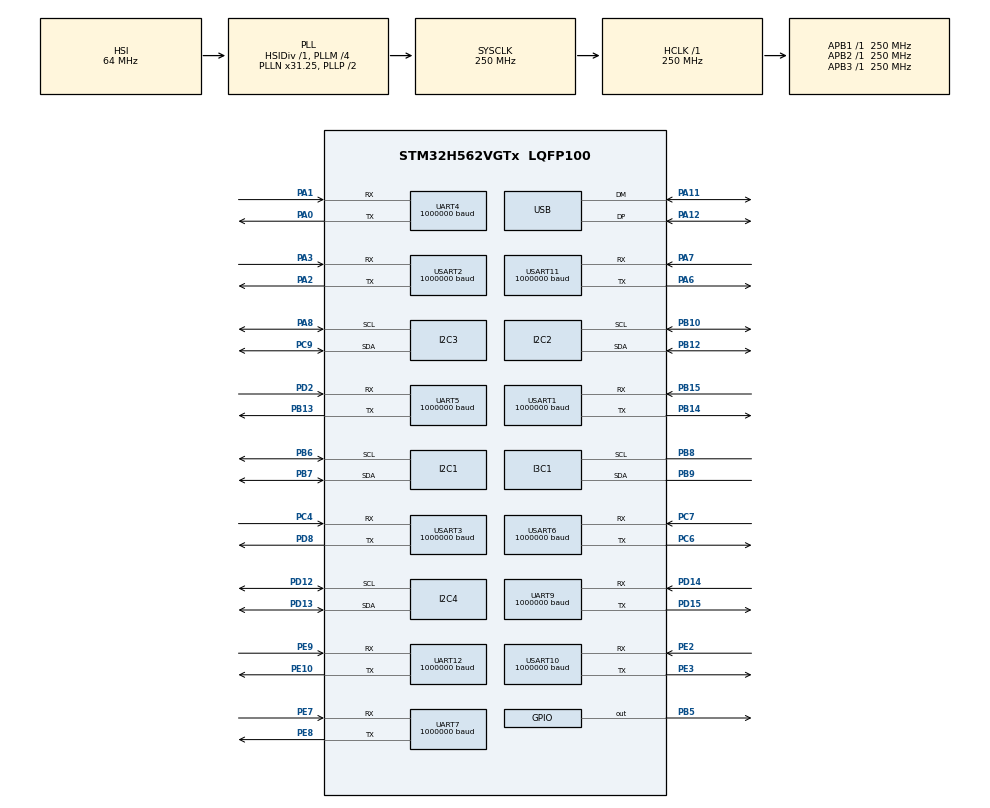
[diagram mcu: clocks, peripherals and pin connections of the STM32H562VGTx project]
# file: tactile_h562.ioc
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BOOTPATH.BootPathName=LEGACY
BOOTPATH.UserSelectedBootPath=LEGACY
CORTEX_M33_NS.Number-Cortex_Memory_Protection_Unit_Region0_OTP_RO_AREAS_Settings=MPU_REGION_NUMBER0
CORTEX_M33_NS.default_mode_Activation=1
CORTEX_M33_NS.userName=CORTEX_M33
I2C1.Timing=0x60808CD3
I2C2.Timing=0x60808CD3
I2C3.Timing=0x60808CD3
I2C4.Timing=0x60808CD3
I3C1.BusFreeDuration=402
I3C1.Register0=0x00774f77
I3C1.Register1=0x003100f8
I3C1.SCLI3CHighDuration=0x4f
I3C1.SCLODLowDuration=0x77
I3C1.SCLPPLowDuration=0x77
I3C1.SCL_OD_Freq=1250
I3C1.SCL_PP_Freq=1250
I3C1.hexBusFreeDuration=0x31
I3C1.hexBusIdleDuration=0xf8
Mcu.Family=STM32H5
Mcu.Name=STM32H562VGTx
Mcu.Package=LQFP100
NVIC.PriorityGroup=NVIC_PRIORITYGROUP_4
NVIC.USB_DRD_FS_IRQn=true\:0\:0\:false\:false\:true\:true\:true\:true
PA0.Mode=Asynchronous
PA0.Signal=UART4_TX
PA1.Mode=Asynchronous
PA1.Signal=UART4_RX
PA11.Mode=Device
PA11.Signal=USB_DM
PA12.Mode=Device
PA12.Signal=USB_DP
PA13(JTMS/SWDIO).Mode=Serial_Wire
PA13(JTMS/SWDIO).Signal=DEBUG_JTMS-SWDIO
PA14(JTCK/SWCLK).Mode=Serial_Wire
PA14(JTCK/SWCLK).Signal=DEBUG_JTCK-SWCLK
PA2.Mode=Asynchronous
PA2.Signal=USART2_TX
PA3.Mode=Asynchronous
PA3.Signal=USART2_RX
PA6.Mode=Asynchronous
PA6.Signal=USART11_TX
PA7.Mode=Asynchronous
PA7.Signal=USART11_RX
PA8.Mode=I2C
PA8.Signal=I2C3_SCL
PB10.Mode=I2C
PB10.Signal=I2C2_SCL
PB12.Mode=I2C
PB12.Signal=I2C2_SDA
PB13.Mode=Asynchronous
PB13.Signal=UART5_TX
PB14.Mode=Asynchronous
PB14.Signal=USART1_TX
PB15.Mode=Asynchronous
PB15.Signal=USART1_RX
PB5.Signal=GPIO_Output
PB6.Mode=I2C
PB6.Signal=I2C1_SCL
PB7.Mode=I2C
PB7.Signal=I2C1_SDA
PB8.Mode=Controller
PB8.Signal=I3C1_SCL
PB9.Mode=Controller
PB9.Signal=I3C1_SDA
PC4.Mode=Asynchronous
PC4.Signal=USART3_RX
PC6.Mode=Asynchronous
PC6.Signal=USART6_TX
PC7.Mode=Asynchronous
PC7.Signal=USART6_RX
PC9.Mode=I2C
PC9.Signal=I2C3_SDA
PD12.Mode=I2C
PD12.Signal=I2C4_SCL
PD13.Mode=I2C
PD13.Signal=I2C4_SDA
PD14.Mode=Asynchronous
PD14.Signal=UART9_RX
PD15.Mode=Asynchronous
PD15.Signal=UART9_TX
PD2.Mode=Asynchronous
PD2.Signal=UART5_RX
PD8.Mode=Asynchronous
PD8.Signal=USART3_TX
PE10.Mode=Asynchronous
PE10.Signal=UART12_TX
PE2.Mode=Asynchronous
PE2.Signal=USART10_RX
PE3.Mode=Asynchronous
PE3.Signal=USART10_TX
PE7.Mode=Asynchronous
PE7.Signal=UART7_RX
PE8.Mode=Asynchronous
PE8.Signal=UART7_TX
PE9.Mode=Asynchronous
PE9.Signal=UART12_RX
ProjectManager.HeapSize=0x200
ProjectManager.StackSize=0x400
ProjectManager.TargetToolchain=CMake
RCC.ADCFreq_Value=250000000
RCC.AHBFreq_Value=250000000
RCC.APB1Freq_Value=250000000
RCC.APB1TimFreq_Value=250000000
RCC.APB2Freq_Value=250000000
RCC.APB2TimFreq_Value=250000000
RCC.APB3Freq_Value=250000000
RCC.CSI_VALUE=4000000
RCC.CortexFreq_Value=250000000
RCC.EPOD_VALUE=64000000
RCC.HCLKFreq_Value=250000000
RCC.HSE_VALUE=25000000
RCC.HSI48_VALUE=48000000
RCC.HSIDiv=RCC_HSI_DIV1
RCC.HSI_VALUE=64000000
RCC.LSE_VALUE=32768
RCC.LSIRC_VALUE=32000
RCC.PLL2FRACN=0
RCC.PLL3FRACN=0
RCC.PLLFRACN=2048
RCC.PLLM=4
RCC.PLLN=31
RCC.PLLSourceVirtual=RCC_PLL1_SOURCE_HSI
RCC.SYSCLKFreq_VALUE=250000000
RCC.SYSCLKSource=RCC_SYSCLKSOURCE_PLLCLK
RCC.USBFreq_Value=48000000
RCC.VCOOutputFreq_Value=500000000
UART12.BaudRate=1000000
UART4.BaudRate=1000000
UART5.BaudRate=1000000
UART7.BaudRate=1000000
UART9.BaudRate=1000000
USART1.BaudRate=1000000
USART1.VirtualMode-Asynchronous=VM_ASYNC
USART10.BaudRate=1000000
USART10.VirtualMode=VM_ASYNC
USART11.BaudRate=1000000
USART11.VirtualMode-Asynchronous=VM_ASYNC
USART2.BaudRate=1000000
USART2.VirtualMode-Asynchronous=VM_ASYNC
USART3.BaudRate=1000000
USART3.VirtualMode-Asynchronous=VM_ASYNC
USART6.BaudRate=1000000
USART6.VirtualMode=VM_ASYNC
USB.VirtualMode=Device_Only
USBX.Core_System=1
USBX.USBD_CDCACM_EPIN_ADDR=2
USBX.USBD_CDCACM_EPOUT_ADDR=3
USBX.UX_DEVICE_CDC_ACM=1
USBX.UX_DEVICE_ENABLED_FS=1
USBX.UX_Device_CoreStack=1
USBX.UX_enabled_FS=1
VP_BOOTPATH_VS_BOOTPATH.Mode=BP_Activate
VP_CORTEX_M33_NS_VS_Hclk.Mode=Hclk_Mode
VP_ICACHE_VS_ICACHE.Mode=DirectMappedCache
VP_MEMORYMAP_VS_MEMORYMAP.Mode=CurAppReg
VP_PWR_VS_LPOM.Mode=PowerOptimisation
VP_PWR_VS_SECSignals.Mode=Security/Privilege
VP_USBX_Core_System.Mode=Core_System
VP_USBX_UX\ Device\ CDC\ ACM\ Class_FS.Mode=UX_Device_class_CDC_ACM_FS_HS
VP_USBX_UX\ Device\ CoreStack_FS.Mode=UX_Device_CoreStack
board=custom

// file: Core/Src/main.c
/* USER CODE BEGIN Header */
/**
  ******************************************************************************
  * @file           : main.c
  * @brief          : Main program body
  ******************************************************************************
  * @attention
  *
  * Copyright (c) 2026 STMicroelectronics.
  * All rights reserved.
  *
  * This software is licensed under terms that can be found in the LICENSE file
  * in the root directory of this software component.
  * If no LICENSE file comes with this software, it is provided AS-IS.
  *
  ******************************************************************************
  */
/* USER CODE END Header */
#include "main.h"
#include "app_usbx.h"

/* USER CODE BEGIN Includes */
#include "tactile_stream.h"

/* USER CODE END Includes */

I2C_HandleTypeDef hi2c1;
I2C_HandleTypeDef hi2c2;
I2C_HandleTypeDef hi2c3;
I2C_HandleTypeDef hi2c4;

I3C_HandleTypeDef hi3c1;

UART_HandleTypeDef huart4;
UART_HandleTypeDef huart5;
UART_HandleTypeDef huart7;
UART_HandleTypeDef huart9;
UART_HandleTypeDef huart12;
UART_HandleTypeDef huart1;
UART_HandleTypeDef huart2;
UART_HandleTypeDef huart3;
UART_HandleTypeDef huart6;
UART_HandleTypeDef huart10;
UART_HandleTypeDef huart11;

PCD_HandleTypeDef hpcd_USB_DRD_FS;

/* USER CODE BEGIN PV */
static uint32_t g_last_led_toggle_ms = 0U;

/* USER CODE END PV */

void SystemClock_Config(void);
static void MPU_Config(void);
static void MX_GPIO_Init(void);
static void MX_ICACHE_Init(void);
static void MX_I2C1_Init(void);
static void MX_I2C2_Init(void);
static void MX_I2C3_Init(void);
static void MX_I2C4_Init(void);
static void MX_I3C1_Init(void);
static void MX_UART4_Init(void);
static void MX_UART5_Init(void);
static void MX_UART7_Init(void);
static void MX_UART9_Init(void);
static void MX_UART12_Init(void);
static void MX_USART1_UART_Init(void);
static void MX_USART2_UART_Init(void);
static void MX_USART3_UART_Init(void);
static void MX_USART6_UART_Init(void);
static void MX_USART10_UART_Init(void);
static void MX_USART11_UART_Init(void);
static void MX_USB_PCD_Init(void);
/* USER CODE BEGIN PFP */
static void StatusLed_Set(uint8_t on);
static void TactileUart_RestoreBaudRate(void);

/* USER CODE END PFP */

/* USER CODE BEGIN 0 */
static void StatusLed_Set(uint8_t on)
{
  HAL_GPIO_WritePin(LED_GPIO_Port, LED_Pin, on ? GPIO_PIN_RESET : GPIO_PIN_SET);
}

static void TactileUart_RestoreBaudRate(void)
{
  UART_HandleTypeDef *const tactile_uarts[] = {
    &huart1, &huart2, &huart3, &huart4, &huart5, &huart6,
    &huart7, &huart9, &huart10, &huart11, &huart12
  };
  uint32_t i;

  /* CubeMX may regenerate every port at 115200 baud. Sensors use 1 Mbps. */
  for (i = 0U; i < (sizeof(tactile_uarts) / sizeof(tactile_uarts[0])); ++i)
  {
    tactile_uarts[i]->Init.BaudRate = 1000000U;
    if (HAL_UART_Init(tactile_uarts[i]) != HAL_OK)
    {
      Error_Handler();
    }
  }
}

/* USER CODE END 0 */

int main(void)
{

  /* MCU Configuration--------------------------------------------------------*/

  /* MPU Configuration--------------------------------------------------------*/
  MPU_Config();

  /* Reset of all peripherals, Initializes the Flash interface and the Systick. */
  HAL_Init();

  /* Configure the system clock */
  SystemClock_Config();

  /* Initialize all configured peripherals */
  MX_GPIO_Init();
  MX_ICACHE_Init();
  MX_I2C1_Init();
  MX_I2C2_Init();
  MX_I2C3_Init();
  MX_I2C4_Init();
  MX_I3C1_Init();
  MX_UART4_Init();
  MX_UART5_Init();
  MX_UART7_Init();
  MX_UART9_Init();
  MX_UART12_Init();
  MX_USART1_UART_Init();
  MX_USART2_UART_Init();
  MX_USART3_UART_Init();
  MX_USART6_UART_Init();
  MX_USART10_UART_Init();
  MX_USART11_UART_Init();
  MX_USB_PCD_Init();
  MX_USBX_Init();
  /* USER CODE BEGIN 2 */
  TactileUart_RestoreBaudRate();
  TactileStream_Start();
  StatusLed_Set(0);
  g_last_led_toggle_ms = HAL_GetTick();

  /* USER CODE END 2 */

  /* Infinite loop */
  while (1)
  {

    /* USER CODE BEGIN 3 */
    uint32_t now = HAL_GetTick();
    ux_system_tasks_run();
    USBD_CDC_ACM_Run();
    TactileStream_Run();
    USBD_CDC_ACM_Run();

    if ((now - g_last_led_toggle_ms) >= 1000U)
    {
      HAL_GPIO_TogglePin(LED_GPIO_Port, LED_Pin);
      g_last_led_toggle_ms = now;
    }
  }
  /* USER CODE END 3 */
}

void SystemClock_Config(void)
{
  RCC_OscInitTypeDef RCC_OscInitStruct = {0};
  RCC_ClkInitTypeDef RCC_ClkInitStruct = {0};

  /** Configure the main internal regulator output voltage
  */
  __HAL_PWR_VOLTAGESCALING_CONFIG(PWR_REGULATOR_VOLTAGE_SCALE0);

  while(!__HAL_PWR_GET_FLAG(PWR_FLAG_VOSRDY)) {}

  /** Initializes the RCC Oscillators according to the specified parameters
  * in the RCC_OscInitTypeDef structure.
  */
  RCC_OscInitStruct.OscillatorType = RCC_OSCILLATORTYPE_HSI48|RCC_OSCILLATORTYPE_HSI;
  RCC_OscInitStruct.HSIState = RCC_HSI_ON;
  RCC_OscInitStruct.HSIDiv = RCC_HSI_DIV1;
  RCC_OscInitStruct.HSICalibrationValue = RCC_HSICALIBRATION_DEFAULT;
  RCC_OscInitStruct.HSI48State = RCC_HSI48_ON;
  RCC_OscInitStruct.PLL.PLLState = RCC_PLL_ON;
  RCC_OscInitStruct.PLL.PLLSource = RCC_PLL1_SOURCE_HSI;
  RCC_OscInitStruct.PLL.PLLM = 4;
  RCC_OscInitStruct.PLL.PLLN = 31;
  RCC_OscInitStruct.PLL.PLLP = 2;
  RCC_OscInitStruct.PLL.PLLQ = 2;
  RCC_OscInitStruct.PLL.PLLR = 2;
  RCC_OscInitStruct.PLL.PLLRGE = RCC_PLL1_VCIRANGE_3;
  RCC_OscInitStruct.PLL.PLLVCOSEL = RCC_PLL1_VCORANGE_WIDE;
  RCC_OscInitStruct.PLL.PLLFRACN = 2048;
  if (HAL_RCC_OscConfig(&RCC_OscInitStruct) != HAL_OK)
  {
    Error_Handler();
  }

  /** Initializes the CPU, AHB and APB buses clocks
  */
  RCC_ClkInitStruct.ClockType = RCC_CLOCKTYPE_HCLK|RCC_CLOCKTYPE_SYSCLK
                              |RCC_CLOCKTYPE_PCLK1|RCC_CLOCKTYPE_PCLK2
                              |RCC_CLOCKTYPE_PCLK3;
  RCC_ClkInitStruct.SYSCLKSource = RCC_SYSCLKSOURCE_PLLCLK;
  RCC_ClkInitStruct.AHBCLKDivider = RCC_SYSCLK_DIV1;
  RCC_ClkInitStruct.APB1CLKDivider = RCC_HCLK_DIV1;
  RCC_ClkInitStruct.APB2CLKDivider = RCC_HCLK_DIV1;
  RCC_ClkInitStruct.APB3CLKDivider = RCC_HCLK_DIV1;

  if (HAL_RCC_ClockConfig(&RCC_ClkInitStruct, FLASH_LATENCY_5) != HAL_OK)
  {
    Error_Handler();
  }

  /** Configure the programming delay
  */
  __HAL_FLASH_SET_PROGRAM_DELAY(FLASH_PROGRAMMING_DELAY_2);
}

static void MX_I2C1_Init(void)
{

  hi2c1.Instance = I2C1;
  hi2c1.Init.Timing = 0x60808CD3;
  hi2c1.Init.OwnAddress1 = 0;
  hi2c1.Init.AddressingMode = I2C_ADDRESSINGMODE_7BIT;
  hi2c1.Init.DualAddressMode = I2C_DUALADDRESS_DISABLE;
  hi2c1.Init.OwnAddress2 = 0;
  hi2c1.Init.OwnAddress2Masks = I2C_OA2_NOMASK;
  hi2c1.Init.GeneralCallMode = I2C_GENERALCALL_DISABLE;
  hi2c1.Init.NoStretchMode = I2C_NOSTRETCH_DISABLE;
  if (HAL_I2C_Init(&hi2c1) != HAL_OK)
  {
    Error_Handler();
  }

  /** Configure Analogue filter
  */
  if (HAL_I2CEx_ConfigAnalogFilter(&hi2c1, I2C_ANALOGFILTER_ENABLE) != HAL_OK)
  {
    Error_Handler();
  }

  /** Configure Digital filter
  */
  if (HAL_I2CEx_ConfigDigitalFilter(&hi2c1, 0) != HAL_OK)
  {
    Error_Handler();
  }

}

static void MX_I2C2_Init(void)
{

  hi2c2.Instance = I2C2;
  hi2c2.Init.Timing = 0x60808CD3;
  hi2c2.Init.OwnAddress1 = 0;
  hi2c2.Init.AddressingMode = I2C_ADDRESSINGMODE_7BIT;
  hi2c2.Init.DualAddressMode = I2C_DUALADDRESS_DISABLE;
  hi2c2.Init.OwnAddress2 = 0;
  hi2c2.Init.OwnAddress2Masks = I2C_OA2_NOMASK;
  hi2c2.Init.GeneralCallMode = I2C_GENERALCALL_DISABLE;
  hi2c2.Init.NoStretchMode = I2C_NOSTRETCH_DISABLE;
  if (HAL_I2C_Init(&hi2c2) != HAL_OK)
  {
    Error_Handler();
  }

  /** Configure Analogue filter
  */
  if (HAL_I2CEx_ConfigAnalogFilter(&hi2c2, I2C_ANALOGFILTER_ENABLE) != HAL_OK)
  {
    Error_Handler();
  }

  /** Configure Digital filter
  */
  if (HAL_I2CEx_ConfigDigitalFilter(&hi2c2, 0) != HAL_OK)
  {
    Error_Handler();
  }

}

static void MX_I2C3_Init(void)
{

  hi2c3.Instance = I2C3;
  hi2c3.Init.Timing = 0x60808CD3;
  hi2c3.Init.OwnAddress1 = 0;
  hi2c3.Init.AddressingMode = I2C_ADDRESSINGMODE_7BIT;
  hi2c3.Init.DualAddressMode = I2C_DUALADDRESS_DISABLE;
  hi2c3.Init.OwnAddress2 = 0;
  hi2c3.Init.OwnAddress2Masks = I2C_OA2_NOMASK;
  hi2c3.Init.GeneralCallMode = I2C_GENERALCALL_DISABLE;
  hi2c3.Init.NoStretchMode = I2C_NOSTRETCH_DISABLE;
  if (HAL_I2C_Init(&hi2c3) != HAL_OK)
  {
    Error_Handler();
  }

  /** Configure Analogue filter
  */
  if (HAL_I2CEx_ConfigAnalogFilter(&hi2c3, I2C_ANALOGFILTER_ENABLE) != HAL_OK)
  {
    Error_Handler();
  }

  /** Configure Digital filter
  */
  if (HAL_I2CEx_ConfigDigitalFilter(&hi2c3, 0) != HAL_OK)
  {
    Error_Handler();
  }

}

static void MX_I2C4_Init(void)
{

  hi2c4.Instance = I2C4;
  hi2c4.Init.Timing = 0x60808CD3;
  hi2c4.Init.OwnAddress1 = 0;
  hi2c4.Init.AddressingMode = I2C_ADDRESSINGMODE_7BIT;
  hi2c4.Init.DualAddressMode = I2C_DUALADDRESS_DISABLE;
  hi2c4.Init.OwnAddress2 = 0;
  hi2c4.Init.OwnAddress2Masks = I2C_OA2_NOMASK;
  hi2c4.Init.GeneralCallMode = I2C_GENERALCALL_DISABLE;
  hi2c4.Init.NoStretchMode = I2C_NOSTRETCH_DISABLE;
  if (HAL_I2C_Init(&hi2c4) != HAL_OK)
  {
    Error_Handler();
  }

  /** Configure Analogue filter
  */
  if (HAL_I2CEx_ConfigAnalogFilter(&hi2c4, I2C_ANALOGFILTER_ENABLE) != HAL_OK)
  {
    Error_Handler();
  }

  /** Configure Digital filter
  */
  if (HAL_I2CEx_ConfigDigitalFilter(&hi2c4, 0) != HAL_OK)
  {
    Error_Handler();
  }

}

static void MX_I3C1_Init(void)
{

  I3C_FifoConfTypeDef sFifoConfig = {0};
  I3C_CtrlConfTypeDef sCtrlConfig = {0};

  hi3c1.Instance = I3C1;
  hi3c1.Mode = HAL_I3C_MODE_CONTROLLER;
  hi3c1.Init.CtrlBusCharacteristic.SDAHoldTime = HAL_I3C_SDA_HOLD_TIME_0_5;
  hi3c1.Init.CtrlBusCharacteristic.WaitTime = HAL_I3C_OWN_ACTIVITY_STATE_0;
  hi3c1.Init.CtrlBusCharacteristic.SCLPPLowDuration = 0x77;
  hi3c1.Init.CtrlBusCharacteristic.SCLI3CHighDuration = 0x4f;
  hi3c1.Init.CtrlBusCharacteristic.SCLODLowDuration = 0x77;
  hi3c1.Init.CtrlBusCharacteristic.SCLI2CHighDuration = 0x00;
  hi3c1.Init.CtrlBusCharacteristic.BusFreeDuration = 0x31;
  hi3c1.Init.CtrlBusCharacteristic.BusIdleDuration = 0xf8;
  if (HAL_I3C_Init(&hi3c1) != HAL_OK)
  {
    Error_Handler();
  }

  /** Configure FIFO
  */
  sFifoConfig.RxFifoThreshold = HAL_I3C_RXFIFO_THRESHOLD_1_4;
  sFifoConfig.TxFifoThreshold = HAL_I3C_TXFIFO_THRESHOLD_1_4;
  sFifoConfig.ControlFifo = HAL_I3C_CONTROLFIFO_DISABLE;
  sFifoConfig.StatusFifo = HAL_I3C_STATUSFIFO_DISABLE;
  if (HAL_I3C_SetConfigFifo(&hi3c1, &sFifoConfig) != HAL_OK)
  {
    Error_Handler();
  }

  /** Configure controller
  */
  sCtrlConfig.DynamicAddr = 0;
  sCtrlConfig.StallTime = 0x00;
  sCtrlConfig.HotJoinAllowed = DISABLE;
  sCtrlConfig.ACKStallState = DISABLE;
  sCtrlConfig.CCCStallState = DISABLE;
  sCtrlConfig.TxStallState = DISABLE;
  sCtrlConfig.RxStallState = DISABLE;
  sCtrlConfig.HighKeeperSDA = DISABLE;
  if (HAL_I3C_Ctrl_Config(&hi3c1, &sCtrlConfig) != HAL_OK)
  {
    Error_Handler();
  }

}

static void MX_ICACHE_Init(void)
{

  /** Enable instruction cache in 1-way (direct mapped cache)
  */
  if (HAL_ICACHE_ConfigAssociativityMode(ICACHE_1WAY) != HAL_OK)
  {
    Error_Handler();
  }
  if (HAL_ICACHE_Enable() != HAL_OK)
  {
    Error_Handler();
  }

}

static void MX_UART4_Init(void)
{

  huart4.Instance = UART4;
  huart4.Init.BaudRate = 115200;
  huart4.Init.WordLength = UART_WORDLENGTH_8B;
  huart4.Init.StopBits = UART_STOPBITS_1;
  huart4.Init.Parity = UART_PARITY_NONE;
  huart4.Init.Mode = UART_MODE_TX_RX;
  huart4.Init.HwFlowCtl = UART_HWCONTROL_NONE;
  huart4.Init.OverSampling = UART_OVERSAMPLING_16;
  huart4.Init.OneBitSampling = UART_ONE_BIT_SAMPLE_DISABLE;
  huart4.Init.ClockPrescaler = UART_PRESCALER_DIV1;
  huart4.AdvancedInit.AdvFeatureInit = UART_ADVFEATURE_NO_INIT;
  if (HAL_UART_Init(&huart4) != HAL_OK)
  {
    Error_Handler();
  }
  if (HAL_UARTEx_SetTxFifoThreshold(&huart4, UART_TXFIFO_THRESHOLD_1_8) != HAL_OK)
  {
    Error_Handler();
  }
  if (HAL_UARTEx_SetRxFifoThreshold(&huart4, UART_RXFIFO_THRESHOLD_1_8) != HAL_OK)
  {
    Error_Handler();
  }
  if (HAL_UARTEx_DisableFifoMode(&huart4) != HAL_OK)
  {
    Error_Handler();
  }

}

static void MX_UART5_Init(void)
{

  huart5.Instance = UART5;
  huart5.Init.BaudRate = 115200;
  huart5.Init.WordLength = UART_WORDLENGTH_8B;
  huart5.Init.StopBits = UART_STOPBITS_1;
  huart5.Init.Parity = UART_PARITY_NONE;
  huart5.Init.Mode = UART_MODE_TX_RX;
  huart5.Init.HwFlowCtl = UART_HWCONTROL_NONE;
  huart5.Init.OverSampling = UART_OVERSAMPLING_16;
  huart5.Init.OneBitSampling = UART_ONE_BIT_SAMPLE_DISABLE;
  huart5.Init.ClockPrescaler = UART_PRESCALER_DIV1;
  huart5.AdvancedInit.AdvFeatureInit = UART_ADVFEATURE_NO_INIT;
  if (HAL_UART_Init(&huart5) != HAL_OK)
  {
    Error_Handler();
  }
  if (HAL_UARTEx_SetTxFifoThreshold(&huart5, UART_TXFIFO_THRESHOLD_1_8) != HAL_OK)
  {
    Error_Handler();
  }
  if (HAL_UARTEx_SetRxFifoThreshold(&huart5, UART_RXFIFO_THRESHOLD_1_8) != HAL_OK)
  {
    Error_Handler();
  }
  if (HAL_UARTEx_DisableFifoMode(&huart5) != HAL_OK)
  {
    Error_Handler();
  }

}

static void MX_UART7_Init(void)
{

  huart7.Instance = UART7;
  huart7.Init.BaudRate = 115200;
  huart7.Init.WordLength = UART_WORDLENGTH_8B;
  huart7.Init.StopBits = UART_STOPBITS_1;
  huart7.Init.Parity = UART_PARITY_NONE;
  huart7.Init.Mode = UART_MODE_TX_RX;
  huart7.Init.HwFlowCtl = UART_HWCONTROL_NONE;
  huart7.Init.OverSampling = UART_OVERSAMPLING_16;
  huart7.Init.OneBitSampling = UART_ONE_BIT_SAMPLE_DISABLE;
  huart7.Init.ClockPrescaler = UART_PRESCALER_DIV1;
  huart7.AdvancedInit.AdvFeatureInit = UART_ADVFEATURE_NO_INIT;
  if (HAL_UART_Init(&huart7) != HAL_OK)
  {
    Error_Handler();
  }
  if (HAL_UARTEx_SetTxFifoThreshold(&huart7, UART_TXFIFO_THRESHOLD_1_8) != HAL_OK)
  {
    Error_Handler();
  }
  if (HAL_UARTEx_SetRxFifoThreshold(&huart7, UART_RXFIFO_THRESHOLD_1_8) != HAL_OK)
  {
    Error_Handler();
  }
  if (HAL_UARTEx_DisableFifoMode(&huart7) != HAL_OK)
  {
    Error_Handler();
  }

}

static void MX_UART9_Init(void)
{

  huart9.Instance = UART9;
  huart9.Init.BaudRate = 115200;
  huart9.Init.WordLength = UART_WORDLENGTH_8B;
  huart9.Init.StopBits = UART_STOPBITS_1;
  huart9.Init.Parity = UART_PARITY_NONE;
  huart9.Init.Mode = UART_MODE_TX_RX;
  huart9.Init.HwFlowCtl = UART_HWCONTROL_NONE;
  huart9.Init.OverSampling = UART_OVERSAMPLING_16;
  huart9.Init.OneBitSampling = UART_ONE_BIT_SAMPLE_DISABLE;
  huart9.Init.ClockPrescaler = UART_PRESCALER_DIV1;
  huart9.AdvancedInit.AdvFeatureInit = UART_ADVFEATURE_NO_INIT;
  if (HAL_UART_Init(&huart9) != HAL_OK)
  {
    Error_Handler();
  }
  if (HAL_UARTEx_SetTxFifoThreshold(&huart9, UART_TXFIFO_THRESHOLD_1_8) != HAL_OK)
  {
    Error_Handler();
  }
  if (HAL_UARTEx_SetRxFifoThreshold(&huart9, UART_RXFIFO_THRESHOLD_1_8) != HAL_OK)
  {
    Error_Handler();
  }
  if (HAL_UARTEx_DisableFifoMode(&huart9) != HAL_OK)
  {
    Error_Handler();
  }

}

static void MX_UART12_Init(void)
{

  huart12.Instance = UART12;
  huart12.Init.BaudRate = 115200;
  huart12.Init.WordLength = UART_WORDLENGTH_8B;
  huart12.Init.StopBits = UART_STOPBITS_1;
  huart12.Init.Parity = UART_PARITY_NONE;
  huart12.Init.Mode = UART_MODE_TX_RX;
  huart12.Init.HwFlowCtl = UART_HWCONTROL_NONE;
  huart12.Init.OverSampling = UART_OVERSAMPLING_16;
  huart12.Init.OneBitSampling = UART_ONE_BIT_SAMPLE_DISABLE;
  huart12.Init.ClockPrescaler = UART_PRESCALER_DIV1;
  huart12.AdvancedInit.AdvFeatureInit = UART_ADVFEATURE_NO_INIT;
  if (HAL_UART_Init(&huart12) != HAL_OK)
  {
    Error_Handler();
  }
  if (HAL_UARTEx_SetTxFifoThreshold(&huart12, UART_TXFIFO_THRESHOLD_1_8) != HAL_OK)
  {
    Error_Handler();
  }
  if (HAL_UARTEx_SetRxFifoThreshold(&huart12, UART_RXFIFO_THRESHOLD_1_8) != HAL_OK)
  {
    Error_Handler();
  }
  if (HAL_UARTEx_DisableFifoMode(&huart12) != HAL_OK)
  {
    Error_Handler();
  }

}

static void MX_USART1_UART_Init(void)
{

  huart1.Instance = USART1;
  huart1.Init.BaudRate = 115200;
  huart1.Init.WordLength = UART_WORDLENGTH_8B;
  huart1.Init.StopBits = UART_STOPBITS_1;
  huart1.Init.Parity = UART_PARITY_NONE;
  huart1.Init.Mode = UART_MODE_TX_RX;
  huart1.Init.HwFlowCtl = UART_HWCONTROL_NONE;
  huart1.Init.OverSampling = UART_OVERSAMPLING_16;
  huart1.Init.OneBitSampling = UART_ONE_BIT_SAMPLE_DISABLE;
  huart1.Init.ClockPrescaler = UART_PRESCALER_DIV1;
  huart1.AdvancedInit.AdvFeatureInit = UART_ADVFEATURE_NO_INIT;
  if (HAL_UART_Init(&huart1) != HAL_OK)
  {
    Error_Handler();
  }
  if (HAL_UARTEx_SetTxFifoThreshold(&huart1, UART_TXFIFO_THRESHOLD_1_8) != HAL_OK)
  {
    Error_Handler();
  }
  if (HAL_UARTEx_SetRxFifoThreshold(&huart1, UART_RXFIFO_THRESHOLD_1_8) != HAL_OK)
  {
    Error_Handler();
  }
  if (HAL_UARTEx_DisableFifoMode(&huart1) != HAL_OK)
  {
    Error_Handler();
  }

}

static void MX_USART2_UART_Init(void)
{

  huart2.Instance = USART2;
  huart2.Init.BaudRate = 115200;
  huart2.Init.WordLength = UART_WORDLENGTH_8B;
  huart2.Init.StopBits = UART_STOPBITS_1;
  huart2.Init.Parity = UART_PARITY_NONE;
  huart2.Init.Mode = UART_MODE_TX_RX;
  huart2.Init.HwFlowCtl = UART_HWCONTROL_NONE;
  huart2.Init.OverSampling = UART_OVERSAMPLING_16;
  huart2.Init.OneBitSampling = UART_ONE_BIT_SAMPLE_DISABLE;
  huart2.Init.ClockPrescaler = UART_PRESCALER_DIV1;
  huart2.AdvancedInit.AdvFeatureInit = UART_ADVFEATURE_NO_INIT;
  if (HAL_UART_Init(&huart2) != HAL_OK)
  {
    Error_Handler();
  }
  if (HAL_UARTEx_SetTxFifoThreshold(&huart2, UART_TXFIFO_THRESHOLD_1_8) != HAL_OK)
  {
    Error_Handler();
  }
  if (HAL_UARTEx_SetRxFifoThreshold(&huart2, UART_RXFIFO_THRESHOLD_1_8) != HAL_OK)
  {
    Error_Handler();
  }
  if (HAL_UARTEx_DisableFifoMode(&huart2) != HAL_OK)
  {
    Error_Handler();
  }

}

static void MX_USART3_UART_Init(void)
{

  huart3.Instance = USART3;
  huart3.Init.BaudRate = 115200;
  huart3.Init.WordLength = UART_WORDLENGTH_8B;
  huart3.Init.StopBits = UART_STOPBITS_1;
  huart3.Init.Parity = UART_PARITY_NONE;
  huart3.Init.Mode = UART_MODE_TX_RX;
  huart3.Init.HwFlowCtl = UART_HWCONTROL_NONE;
  huart3.Init.OverSampling = UART_OVERSAMPLING_16;
  huart3.Init.OneBitSampling = UART_ONE_BIT_SAMPLE_DISABLE;
  huart3.Init.ClockPrescaler = UART_PRESCALER_DIV1;
  huart3.AdvancedInit.AdvFeatureInit = UART_ADVFEATURE_NO_INIT;
  if (HAL_UART_Init(&huart3) != HAL_OK)
  {
    Error_Handler();
  }
  if (HAL_UARTEx_SetTxFifoThreshold(&huart3, UART_TXFIFO_THRESHOLD_1_8) != HAL_OK)
  {
    Error_Handler();
  }
  if (HAL_UARTEx_SetRxFifoThreshold(&huart3, UART_RXFIFO_THRESHOLD_1_8) != HAL_OK)
  {
    Error_Handler();
  }
  if (HAL_UARTEx_DisableFifoMode(&huart3) != HAL_OK)
  {
    Error_Handler();
  }

}

static void MX_USART6_UART_Init(void)
{

  huart6.Instance = USART6;
  huart6.Init.BaudRate = 115200;
  huart6.Init.WordLength = UART_WORDLENGTH_8B;
  huart6.Init.StopBits = UART_STOPBITS_1;
  huart6.Init.Parity = UART_PARITY_NONE;
  huart6.Init.Mode = UART_MODE_TX_RX;
  huart6.Init.HwFlowCtl = UART_HWCONTROL_NONE;
  huart6.Init.OverSampling = UART_OVERSAMPLING_16;
  huart6.Init.OneBitSampling = UART_ONE_BIT_SAMPLE_DISABLE;
  huart6.Init.ClockPrescaler = UART_PRESCALER_DIV1;
  huart6.AdvancedInit.AdvFeatureInit = UART_ADVFEATURE_NO_INIT;
  if (HAL_UART_Init(&huart6) != HAL_OK)
  {
    Error_Handler();
  }
  if (HAL_UARTEx_SetTxFifoThreshold(&huart6, UART_TXFIFO_THRESHOLD_1_8) != HAL_OK)
  {
    Error_Handler();
  }
  if (HAL_UARTEx_SetRxFifoThreshold(&huart6, UART_RXFIFO_THRESHOLD_1_8) != HAL_OK)
  {
    Error_Handler();
  }
  if (HAL_UARTEx_DisableFifoMode(&huart6) != HAL_OK)
  {
    Error_Handler();
  }

}

static void MX_USART10_UART_Init(void)
{

  huart10.Instance = USART10;
  huart10.Init.BaudRate = 115200;
  huart10.Init.WordLength = UART_WORDLENGTH_8B;
  huart10.Init.StopBits = UART_STOPBITS_1;
  huart10.Init.Parity = UART_PARITY_NONE;
  huart10.Init.Mode = UART_MODE_TX_RX;
  huart10.Init.HwFlowCtl = UART_HWCONTROL_NONE;
  huart10.Init.OverSampling = UART_OVERSAMPLING_16;
  huart10.Init.OneBitSampling = UART_ONE_BIT_SAMPLE_DISABLE;
  huart10.Init.ClockPrescaler = UART_PRESCALER_DIV1;
  huart10.AdvancedInit.AdvFeatureInit = UART_ADVFEATURE_NO_INIT;
  if (HAL_UART_Init(&huart10) != HAL_OK)
  {
    Error_Handler();
  }
  if (HAL_UARTEx_SetTxFifoThreshold(&huart10, UART_TXFIFO_THRESHOLD_1_8) != HAL_OK)
  {
    Error_Handler();
  }
  if (HAL_UARTEx_SetRxFifoThreshold(&huart10, UART_RXFIFO_THRESHOLD_1_8) != HAL_OK)
  {
    Error_Handler();
  }
  if (HAL_UARTEx_DisableFifoMode(&huart10) != HAL_OK)
  {
    Error_Handler();
  }

}

static void MX_USART11_UART_Init(void)
{

  huart11.Instance = USART11;
  huart11.Init.BaudRate = 115200;
  huart11.Init.WordLength = UART_WORDLENGTH_8B;
  huart11.Init.StopBits = UART_STOPBITS_1;
  huart11.Init.Parity = UART_PARITY_NONE;
  huart11.Init.Mode = UART_MODE_TX_RX;
  huart11.Init.HwFlowCtl = UART_HWCONTROL_NONE;
  huart11.Init.OverSampling = UART_OVERSAMPLING_16;
  huart11.Init.OneBitSampling = UART_ONE_BIT_SAMPLE_DISABLE;
  huart11.Init.ClockPrescaler = UART_PRESCALER_DIV1;
  huart11.AdvancedInit.AdvFeatureInit = UART_ADVFEATURE_NO_INIT;
  if (HAL_UART_Init(&huart11) != HAL_OK)
  {
    Error_Handler();
  }
  if (HAL_UARTEx_SetTxFifoThreshold(&huart11, UART_TXFIFO_THRESHOLD_1_8) != HAL_OK)
  {
    Error_Handler();
  }
  if (HAL_UARTEx_SetRxFifoThreshold(&huart11, UART_RXFIFO_THRESHOLD_1_8) != HAL_OK)
  {
    Error_Handler();
  }
  if (HAL_UARTEx_DisableFifoMode(&huart11) != HAL_OK)
  {
    Error_Handler();
  }

}

static void MX_USB_PCD_Init(void)
{

  hpcd_USB_DRD_FS.Instance = USB_DRD_FS;
  hpcd_USB_DRD_FS.Init.dev_endpoints = 8;
  hpcd_USB_DRD_FS.Init.speed = USBD_FS_SPEED;
  hpcd_USB_DRD_FS.Init.phy_itface = PCD_PHY_EMBEDDED;
  hpcd_USB_DRD_FS.Init.Sof_enable = DISABLE;
  hpcd_USB_DRD_FS.Init.low_power_enable = DISABLE;
  hpcd_USB_DRD_FS.Init.lpm_enable = DISABLE;
  hpcd_USB_DRD_FS.Init.battery_charging_enable = DISABLE;
  hpcd_USB_DRD_FS.Init.vbus_sensing_enable = DISABLE;
  hpcd_USB_DRD_FS.Init.bulk_doublebuffer_enable = DISABLE;
  hpcd_USB_DRD_FS.Init.iso_singlebuffer_enable = DISABLE;
  if (HAL_PCD_Init(&hpcd_USB_DRD_FS) != HAL_OK)
  {
    Error_Handler();
  }
  /* USER CODE BEGIN USB_Init 2 */
  /* Match the official H5 USBX CDC examples: EP0 OUT/IN, CDC CMD IN, CDC DATA OUT, CDC DATA IN. */
  HAL_PCDEx_PMAConfig(&hpcd_USB_DRD_FS, 0x00, PCD_SNG_BUF, 0x14);
  HAL_PCDEx_PMAConfig(&hpcd_USB_DRD_FS, 0x80, PCD_SNG_BUF, 0x54);
  HAL_PCDEx_PMAConfig(&hpcd_USB_DRD_FS, 0x81, PCD_SNG_BUF, 0x94);
  HAL_PCDEx_PMAConfig(&hpcd_USB_DRD_FS, 0x03, PCD_SNG_BUF, 0xD4);
  HAL_PCDEx_PMAConfig(&hpcd_USB_DRD_FS, 0x82, PCD_SNG_BUF, 0x114);

  /* USER CODE END USB_Init 2 */

}

static void MX_GPIO_Init(void)
{
  GPIO_InitTypeDef GPIO_InitStruct = {0};

  /* GPIO Ports Clock Enable */
  __HAL_RCC_GPIOE_CLK_ENABLE();
  __HAL_RCC_GPIOA_CLK_ENABLE();
  __HAL_RCC_GPIOC_CLK_ENABLE();
  __HAL_RCC_GPIOB_CLK_ENABLE();
  __HAL_RCC_GPIOD_CLK_ENABLE();

  /*Configure GPIO pin Output Level */
  HAL_GPIO_WritePin(GPIOB, GPIO_PIN_5, GPIO_PIN_RESET);

  /*Configure GPIO pin : PB5 */
  GPIO_InitStruct.Pin = GPIO_PIN_5;
  GPIO_InitStruct.Mode = GPIO_MODE_OUTPUT_PP;
  GPIO_InitStruct.Pull = GPIO_NOPULL;
  GPIO_InitStruct.Speed = GPIO_SPEED_FREQ_LOW;
  HAL_GPIO_Init(GPIOB, &GPIO_InitStruct);

  /* USER CODE BEGIN MX_GPIO_Init_2 */
  HAL_GPIO_WritePin(LED_GPIO_Port, LED_Pin, GPIO_PIN_SET);

  GPIO_InitStruct.Pin = LED_Pin;
  GPIO_InitStruct.Mode = GPIO_MODE_OUTPUT_PP;
  GPIO_InitStruct.Pull = GPIO_NOPULL;
  GPIO_InitStruct.Speed = GPIO_SPEED_FREQ_LOW;
  HAL_GPIO_Init(LED_GPIO_Port, &GPIO_InitStruct);

  /* USER CODE END MX_GPIO_Init_2 */
}

 /* MPU Configuration */

void MPU_Config(void)
{
  MPU_Region_InitTypeDef MPU_InitStruct = {0};
  MPU_Attributes_InitTypeDef MPU_AttributesInit = {0};

  /* Disables the MPU */
  HAL_MPU_Disable();

  /** Initializes and configures the Region 0 and the memory to be protected
  */
  MPU_InitStruct.Enable = MPU_REGION_ENABLE;
  MPU_InitStruct.Number = MPU_REGION_NUMBER0;
  MPU_InitStruct.BaseAddress = 0x08FFF000;
  MPU_InitStruct.LimitAddress = 0x08FFFFFF;
  MPU_InitStruct.AttributesIndex = MPU_ATTRIBUTES_NUMBER0;
  MPU_InitStruct.AccessPermission = MPU_REGION_ALL_RO;
  MPU_InitStruct.DisableExec = MPU_INSTRUCTION_ACCESS_DISABLE;
  MPU_InitStruct.IsShareable = MPU_ACCESS_NOT_SHAREABLE;

  HAL_MPU_ConfigRegion(&MPU_InitStruct);

  /** Initializes and configures the Attribute 0 and the memory to be protected
  */
  MPU_AttributesInit.Number = MPU_ATTRIBUTES_NUMBER0;
  MPU_AttributesInit.Attributes = INNER_OUTER(MPU_NOT_CACHEABLE);

  HAL_MPU_ConfigMemoryAttributes(&MPU_AttributesInit);
  /* Enables the MPU */
  HAL_MPU_Enable(MPU_PRIVILEGED_DEFAULT);

}

void Error_Handler(void)
{
  /* USER CODE BEGIN Error_Handler_Debug */
  /* User can add his own implementation to report the HAL error return state */
  __disable_irq();
  StatusLed_Set(1);
  while (1)
  {
  }
  /* USER CODE END Error_Handler_Debug */
}
